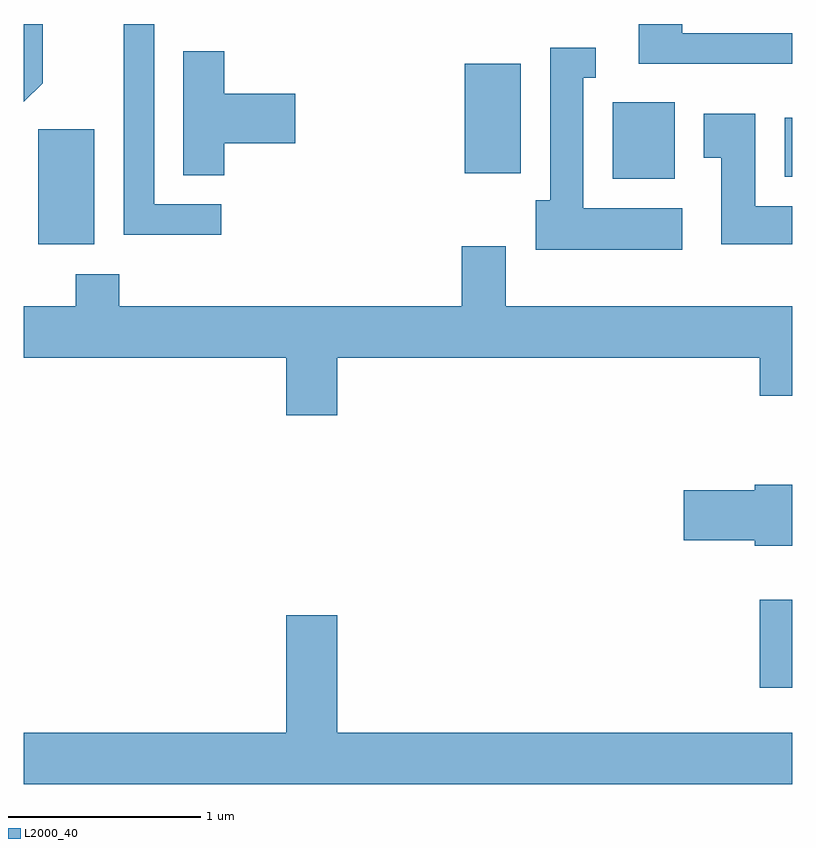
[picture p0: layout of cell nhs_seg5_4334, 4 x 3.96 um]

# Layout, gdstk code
import gdstk
lib = gdstk.Library(unit=1e-6, precision=1e-09)
def R(c, l, rs):  # rectangles x0, y0, x1, y1
    for r in rs: c.add(gdstk.rectangle(r[:2], r[2:], *l))
def P(c, l, *ps):  # polygons
    for p in ps: c.add(gdstk.Polygon(p, *l))
L2000_40 = (2000, 40)

nhs_seg5_4334 = lib.new_cell('nhs_seg5_4334')
R(nhs_seg5_4334, L2000_40, [(317.441,1470.616,317.611,1471.074), (313.686,1472.926,313.979,1473.524), (316.676,1473.266,316.999,1473.664), (317.571,1473.276,317.611,1473.584), (315.906,1473.296,316.199,1473.864)])
P(nhs_seg5_4334, L2000_40, [(313.709,1473.764),(313.709,1474.072),(313.611,1474.072),(313.611,1473.666)],
  [(314.638,1473.134),(314.289,1473.134),(314.289,1474.072),(314.131,1474.072),(314.131,1472.976),(314.638,1472.976)],
  [(317.611,1474.024),(317.039,1474.024),(317.039,1474.072),(316.811,1474.072),(316.811,1473.866),(317.611,1473.866)],
  [(317.039,1473.114),(316.524,1473.114),(316.524,1473.791),(316.588,1473.791),(316.588,1473.949),(316.351,1473.949),(316.351,1473.154),(316.276,1473.154),(316.276,1472.896),(317.039,1472.896)],
  [(314.654,1473.451),(315.024,1473.451),(315.024,1473.709),(314.654,1473.709),(314.654,1473.929),(314.441,1473.929),(314.441,1473.286),(314.654,1473.286)],
  [(317.611,1473.124),(317.419,1473.124),(317.419,1473.604),(317.151,1473.604),(317.151,1473.376),(317.241,1473.376),(317.241,1472.926),(317.611,1472.926)],
  [(315.244,1472.336),(317.441,1472.336),(317.441,1472.136),(317.611,1472.136),(317.611,1472.604),(316.119,1472.604),(316.119,1472.914),(315.891,1472.914),(315.891,1472.604),(314.109,1472.604),(314.109,1472.769),(313.881,1472.769),(313.881,1472.604),(313.611,1472.604),(313.611,1472.336),(314.976,1472.336),(314.976,1472.036),(315.244,1472.036)],
  [(317.611,1471.664),(317.61,1471.664),(317.61,1471.674),(317.416,1471.674),(317.416,1471.644),(317.046,1471.644),(317.046,1471.386),(317.416,1471.386),(317.416,1471.356),(317.611,1471.356)],
  [(317.611,1470.384),(315.244,1470.384),(315.244,1470.994),(314.976,1470.994),(314.976,1470.384),(313.611,1470.384),(313.611,1470.116),(317.611,1470.116)])

lib.write_gds('nhs_seg5_4334.gds')
